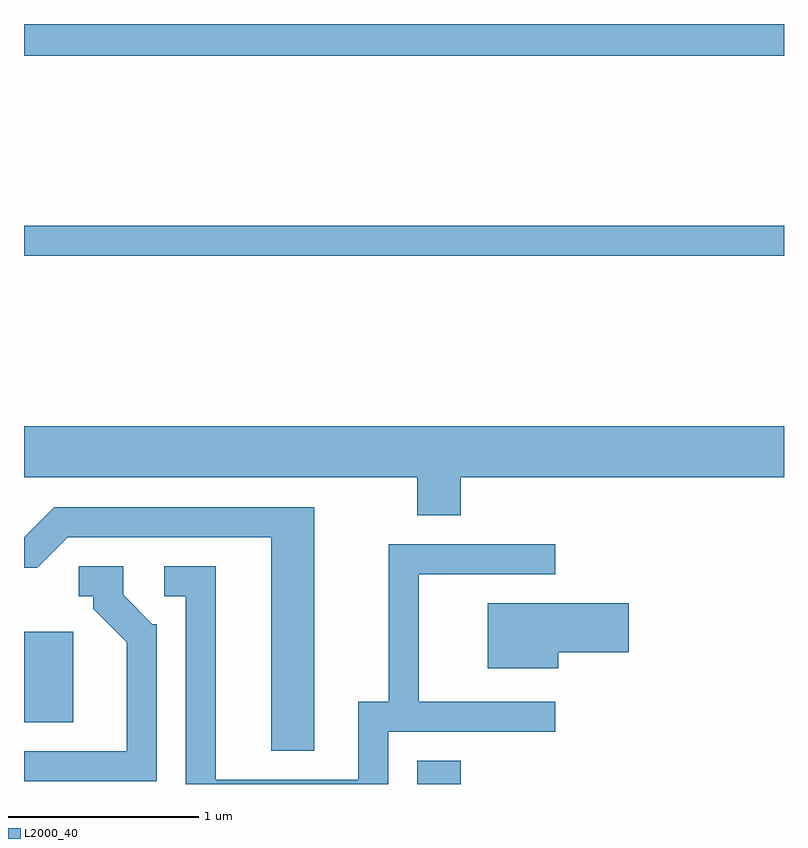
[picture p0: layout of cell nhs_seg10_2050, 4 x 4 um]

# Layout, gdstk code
import gdstk
lib = gdstk.Library(unit=1e-6, precision=1e-09)
def R(c, l, rs):  # rectangles x0, y0, x1, y1
    for r in rs: c.add(gdstk.rectangle(r[:2], r[2:], *l))
def P(c, l, *ps):  # polygons
    for p in ps: c.add(gdstk.Polygon(p, *l))
L2000_40 = (2000, 40)

nhs_seg10_2050 = lib.new_cell('nhs_seg10_2050')
R(nhs_seg10_2050, L2000_40, [(247.681,2114.522,247.909,2114.644), (245.611,2114.846,245.869,2115.324), (245.611,2117.301,249.611,2117.459), (245.611,2118.356,249.611,2118.522)])
P(nhs_seg10_2050, L2000_40, [(245.611,2116.136),(247.681,2116.136),(247.681,2115.936),(247.909,2115.936),(247.909,2116.136),(249.611,2116.136),(249.611,2116.404),(245.611,2116.404)],
  [(247.139,2115.979),(245.769,2115.979),(245.611,2115.821),(245.611,2115.661),(245.682,2115.661),(245.842,2115.821),(246.911,2115.821),(246.911,2114.696),(247.139,2114.696)],
  [(247.529,2114.796),(248.408,2114.796),(248.408,2114.954),(247.689,2114.954),(247.689,2115.626),(248.408,2115.626),(248.408,2115.784),(247.531,2115.784),(247.531,2114.954),(247.371,2114.954),(247.371,2114.544),(246.619,2114.544),(246.619,2115.669),(246.348,2115.669),(246.348,2115.511),(246.461,2115.511),(246.461,2114.522),(247.529,2114.522)],
  [(246.309,2115.364),(246.287,2115.364),(246.134,2115.517),(246.134,2115.669),(245.898,2115.669),(245.898,2115.511),(245.976,2115.511),(245.976,2115.444),(246.151,2115.269),(246.151,2114.694),(245.611,2114.694),(245.611,2114.536),(246.309,2114.536)],
  [(248.424,2115.216),(248.794,2115.216),(248.794,2115.474),(248.051,2115.474),(248.051,2115.131),(248.424,2115.131)])

lib.write_gds('nhs_seg10_2050.gds')
